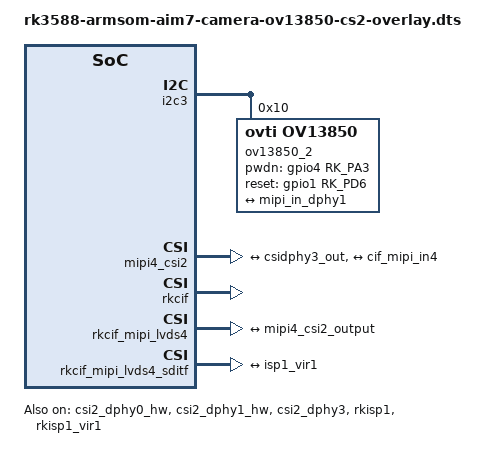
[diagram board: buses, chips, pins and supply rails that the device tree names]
/dts-v1/;
/plugin/;

#include <dt-bindings/clock/rk3588-cru.h>
#include <dt-bindings/power/rk3588-power.h>
#include <dt-bindings/gpio/gpio.h>
#include <dt-bindings/pinctrl/rockchip.h>

/*
 * AIM7 CS2 (J12), OV13850 on i2c3.
 * csi2_dphy3 -> mipi4_csi2 -> rkcif_mipi_lvds4 -> rkisp1_vir1.
 * Load independently or together with the other AIM7 per-connector overlays.
 */

/ {
	fragment@0 {
		target = <&i2c3>;
		__overlay__ {
			status = "okay";
			pinctrl-names = "default";
			pinctrl-0 = <&i2c3m0_xfer>;
			#address-cells = <1>;
			#size-cells = <0>;
			ov13850_2: ov13850_2@10 {
				status = "okay";
				compatible = "ovti,ov13850";
				reg = <0x10>;
				clocks = <&cru CLK_MIPI_CAMARAOUT_M3>;
				clock-names = "xvclk";
				pinctrl-names = "rockchip,camera_default";
				pinctrl-0 = <&mipim1_camera3_clk>;
				pwdn-gpios = <&gpio4 RK_PA3 GPIO_ACTIVE_HIGH>;
				reset-gpios = <&gpio1 RK_PD6 GPIO_ACTIVE_HIGH>;
				rockchip,camera-module-index = <3>;
				rockchip,camera-module-facing = "back";
				rockchip,camera-module-name = "ZC-OV13850R2A-V1";
				rockchip,camera-module-lens-name = "Largan-50064B31";
				port {
					ov13850_out1: endpoint {
						remote-endpoint = <&mipi_in_dphy1>;
						data-lanes = <1 2 3 4>;
					};
				};
			};
		};
	};

	fragment@1 {
		target = <&csi2_dphy0_hw>;

		__overlay__ {
			status = "okay";
		};
	};

	fragment@2 {
		target = <&csi2_dphy1_hw>;

		__overlay__ {
			status = "okay";
		};
	};

	fragment@3 {
		target = <&csi2_dphy3>;

		__overlay__ {
			status = "okay";
			ports {
				#address-cells = <1>;
				#size-cells = <0>;

				port@0 {
					reg = <0>;
					#address-cells = <1>;
					#size-cells = <0>;

					mipi_in_dphy1: endpoint@1 {
						reg = <1>;
						remote-endpoint = <&ov13850_out1>;
						data-lanes = <1 2 3 4>;
					};

				};

				port@1 {
					reg = <1>;
					#address-cells = <1>;
					#size-cells = <0>;

					csidphy3_out: endpoint@0 {
						reg = <0>;
						remote-endpoint = <&mipi4_csi2_input>;
					};
				};
			};
		};
	};

	fragment@4 {
		target = <&mipi4_csi2>;

		__overlay__ {
			status = "okay";
			ports {
				#address-cells = <1>;
				#size-cells = <0>;

				port@0 {
					reg = <0>;
					#address-cells = <1>;
					#size-cells = <0>;

					mipi4_csi2_input: endpoint@1 {
						reg = <1>;
						remote-endpoint = <&csidphy3_out>;
					};
				};

				port@1 {
					reg = <1>;
					#address-cells = <1>;
					#size-cells = <0>;

					mipi4_csi2_output: endpoint@0 {
						reg = <0>;
						remote-endpoint = <&cif_mipi_in4>;
					};
				};
			};
		};
	};

	fragment@5 {
		target = <&rkcif>;

		__overlay__ {
			status = "okay";
		};
	};

	fragment@6{
		target = <&rkcif_mipi_lvds4>;

		__overlay__ {
			status = "okay";
			port {
				cif_mipi_in4: endpoint {
					remote-endpoint = <&mipi4_csi2_output>;
				};
			};
		};
	};

	fragment@7{
		target = <&rkcif_mipi_lvds4_sditf>;

		__overlay__ {
			status = "okay";
			port {
				mipi4_lvds_sditf: endpoint {
					remote-endpoint = <&isp1_vir1>;
				};
			};
		};
	};

	fragment@8{
		target = <&rkcif_mmu>;

		__overlay__ {
			status = "okay";
		};
	};

	fragment@9{
		target = <&rkisp1>;

		__overlay__ {
			status = "okay";
		};
	};

	fragment@10{
		target = <&isp1_mmu>;

		__overlay__ {
			status = "okay";
		};
	};

	fragment@11{
		target = <&rkisp1_vir1>;

		__overlay__ {
			status = "okay";
			port {
				#address-cells = <1>;
				#size-cells = <0>;

				isp1_vir1: endpoint@0 {
					reg = <0>;
					remote-endpoint = <&mipi4_lvds_sditf>;
				};
			};
		};
	};
};
